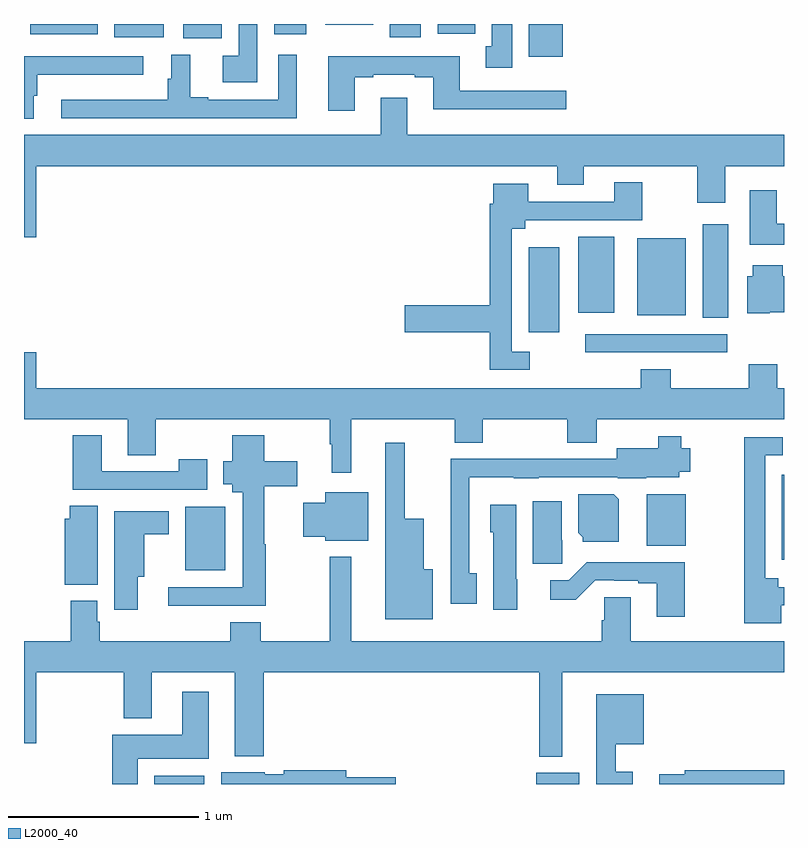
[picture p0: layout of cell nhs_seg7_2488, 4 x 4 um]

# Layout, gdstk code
import gdstk
lib = gdstk.Library(unit=1e-6, precision=1e-09)
def R(c, l, rs):  # rectangles x0, y0, x1, y1
    for r in rs: c.add(gdstk.rectangle(r[:2], r[2:], *l))
def P(c, l, *ps):  # polygons
    for p in ps: c.add(gdstk.Polygon(p, *l))
L2000_40 = (2000, 40)

nhs_seg7_2488 = lib.new_cell('nhs_seg7_2488')
R(nhs_seg7_2488, L2000_40, [(273.686,1028,273.949,1028.044), (275.696,1028,275.923,1028.059), (273.848,1029.125,274.06,1029.46), (276.989,1029.18,277,1029.628), (276.278,1029.254,276.484,1029.524), (275.955,1030.272,276.7,1030.368), (275.657,1030.377,275.818,1030.825), (276.572,1030.453,276.706,1030.945), (276.227,1030.466,276.484,1030.873), (275.918,1030.481,276.106,1030.879), (275.657,1031.828,275.836,1032), (273.839,1031.924,274.042,1032), (273.476,1031.93,273.736,1032), (274.925,1031.93,275.089,1032), (273.032,1031.945,273.388,1032), (274.316,1031.945,274.486,1032), (275.177,1031.948,275.374,1032), (274.586,1031.996,274.837,1032)])
P(nhs_seg7_2488, L2000_40, [(274.227,1032),(274.131,1032),(274.131,1031.833),(274.047,1031.833),(274.047,1031.693),(274.227,1031.693)],
  [(275.569,1032),(275.462,1032),(275.462,1031.882),(275.429,1031.882),(275.429,1031.769),(275.569,1031.769)],
  [(274.435,1031.839),(274.338,1031.839),(274.338,1031.601),(273.97,1031.601),(273.97,1031.614),(273.874,1031.614),(273.874,1031.839),(273.776,1031.839),(273.776,1031.712),(273.757,1031.712),(273.757,1031.602),(273.195,1031.602),(273.195,1031.505),(274.435,1031.505)],
  [(274.741,1031.721),(274.837,1031.721),(274.837,1031.733),(275.057,1031.733),(275.057,1031.721),(275.153,1031.721),(275.153,1031.552),(275.854,1031.552),(275.854,1031.649),(275.293,1031.649),(275.293,1031.829),(274.829,1031.829),(274.829,1031.83),(274.601,1031.83),(274.601,1031.544),(274.741,1031.544)],
  [(273.052,1031.622),(273.071,1031.622),(273.071,1031.732),(273.628,1031.732),(273.628,1031.829),(273,1031.829),(273,1031.501),(273.052,1031.501)],
  [(273.064,1031.252),(275.807,1031.252),(275.807,1031.153),(275.947,1031.153),(275.947,1031.252),(276.544,1031.252),(276.544,1031.058),(276.691,1031.058),(276.691,1031.252),(277,1031.252),(277,1031.416),(275.017,1031.416),(275.017,1031.611),(274.877,1031.611),(274.877,1031.416),(273,1031.416),(273,1030.878),(273.064,1030.878)],
  [(275.662,1030.275),(275.568,1030.275),(275.568,1030.922),(275.638,1030.922),(275.638,1030.968),(276.255,1030.968),(276.255,1031.167),(276.107,1031.167),(276.107,1031.064),(275.653,1031.064),(275.653,1031.158),(275.471,1031.158),(275.471,1031.054),(275.452,1031.054),(275.452,1030.52),(275.004,1030.52),(275.004,1030.378),(275.452,1030.378),(275.452,1030.179),(275.662,1030.179)],
  [(277,1030.948),(276.961,1030.948),(276.961,1031.125),(276.821,1031.125),(276.821,1030.838),(277,1030.838)],
  [(276.924,1030.484),(277,1030.484),(277,1030.672),(276.994,1030.672),(276.994,1030.729),(276.836,1030.729),(276.836,1030.672),(276.806,1030.672),(276.806,1030.478),(276.924,1030.478)],
  [(274.723,1029.92),(275.267,1029.92),(275.267,1029.796),(275.415,1029.796),(275.415,1029.92),(275.86,1029.92),(275.86,1029.796),(276.015,1029.796),(276.015,1029.92),(277,1029.92),(277,1030.084),(276.965,1030.084),(276.965,1030.208),(276.814,1030.208),(276.814,1030.084),(276.405,1030.084),(276.405,1030.183),(276.245,1030.183),(276.245,1030.084),(273.064,1030.084),(273.064,1030.273),(273,1030.273),(273,1029.92),(273.545,1029.92),(273.545,1029.73),(273.693,1029.73),(273.693,1029.92),(274.609,1029.92),(274.609,1029.788),(274.619,1029.788),(274.619,1029.639),(274.723,1029.639)],
  [(273.964,1029.709),(273.814,1029.709),(273.814,1029.645),(273.409,1029.645),(273.409,1029.835),(273.257,1029.835),(273.257,1029.549),(273.964,1029.549)],
  [(274.272,1029.263),(274.264,1029.263),(274.264,1029.566),(274.438,1029.566),(274.438,1029.7),(274.264,1029.7),(274.264,1029.835),(274.097,1029.835),(274.097,1029.7),(274.049,1029.7),(274.049,1029.578),(274.097,1029.578),(274.097,1029.536),(274.151,1029.536),(274.151,1029.036),(273.759,1029.036),(273.759,1028.939),(274.272,1028.939)],
  [(275.383,1029.11),(275.343,1029.11),(275.343,1029.614),(275.577,1029.614),(275.577,1029.608),(275.709,1029.608),(275.709,1029.615),(276.126,1029.615),(276.126,1029.608),(276.276,1029.608),(276.276,1029.614),(276.448,1029.614),(276.448,1029.644),(276.507,1029.644),(276.507,1029.766),(276.46,1029.766),(276.46,1029.829),(276.339,1029.829),(276.339,1029.766),(276.119,1029.766),(276.119,1029.711),(275.709,1029.711),(275.709,1029.713),(275.477,1029.713),(275.477,1029.711),(275.245,1029.711),(275.245,1029.493),(275.246,1029.493),(275.246,1028.949),(275.383,1028.949)],
  [(276.985,1028.94),(277,1028.94),(277,1029.036),(276.97,1029.036),(276.97,1029.082),(276.9,1029.082),(276.9,1029.729),(276.994,1029.729),(276.994,1029.825),(276.792,1029.825),(276.792,1028.846),(276.985,1028.846)],
  [(275.152,1029.13),(275.104,1029.13),(275.104,1029.397),(275.005,1029.397),(275.005,1029.796),(274.901,1029.796),(274.901,1028.867),(275.152,1028.867)],
  [(274.813,1029.535),(274.586,1029.535),(274.586,1029.48),(274.469,1029.48),(274.469,1029.302),(274.586,1029.302),(274.586,1029.281),(274.813,1029.281)],
  [(276.13,1029.5),(276.104,1029.526),(275.918,1029.526),(275.918,1029.322),(275.94,1029.3),(275.94,1029.275),(276.13,1029.275)],
  [(275.834,1029.282),(275.83,1029.282),(275.83,1029.487),(275.678,1029.487),(275.678,1029.159),(275.834,1029.159)],
  [(275.596,1029.078),(275.59,1029.078),(275.59,1029.469),(275.453,1029.469),(275.453,1029.324),(275.471,1029.324),(275.471,1028.916),(275.596,1028.916)],
  [(273.388,1029.464),(273.242,1029.464),(273.242,1029.397),(273.215,1029.397),(273.215,1029.05),(273.388,1029.05)],
  [(273.598,1029.092),(273.634,1029.092),(273.634,1029.314),(273.763,1029.314),(273.763,1029.436),(273.476,1029.436),(273.476,1028.916),(273.598,1028.916)],
  [(275.833,1028.588),(277,1028.588),(277,1028.752),(276.193,1028.752),(276.193,1028.984),(276.054,1028.984),(276.054,1028.862),(276.041,1028.862),(276.041,1028.752),(274.723,1028.752),(274.723,1029.196),(274.609,1029.196),(274.609,1028.752),(274.245,1028.752),(274.245,1028.851),(274.085,1028.851),(274.085,1028.752),(273.398,1028.752),(273.398,1028.853),(273.385,1028.853),(273.385,1028.965),(273.245,1028.965),(273.245,1028.752),(273,1028.752),(273,1028.214),(273.064,1028.214),(273.064,1028.588),(273.526,1028.588),(273.526,1028.345),(273.673,1028.345),(273.673,1028.588),(274.109,1028.588),(274.109,1028.147),(274.262,1028.147),(274.262,1028.588),(275.712,1028.588),(275.712,1028.144),(275.833,1028.144)],
  [(276.477,1029.166),(275.962,1029.166),(275.868,1029.072),(275.769,1029.072),(275.769,1028.97),(275.904,1028.97),(276.006,1029.072),(276.106,1029.072),(276.106,1029.069),(276.233,1029.069),(276.233,1029.057),(276.329,1029.057),(276.329,1028.88),(276.477,1028.88)],
  [(273.598,1028.132),(273.973,1028.132),(273.973,1028.485),(273.833,1028.485),(273.833,1028.26),(273.464,1028.26),(273.464,1028),(273.598,1028)],
  [(276.205,1028.065),(276.115,1028.065),(276.115,1028.21),(276.262,1028.21),(276.262,1028.473),(276.011,1028.473),(276.011,1028),(276.205,1028)],
  [(274.957,1028.036),(274.696,1028.036),(274.696,1028.072),(274.366,1028.072),(274.366,1028.052),(274.266,1028.052),(274.266,1028.062),(274.037,1028.062),(274.037,1028),(274.957,1028)],
  [(277,1028.072),(276.478,1028.072),(276.478,1028.052),(276.344,1028.052),(276.344,1028),(277,1028)])

lib.write_gds('nhs_seg7_2488.gds')
